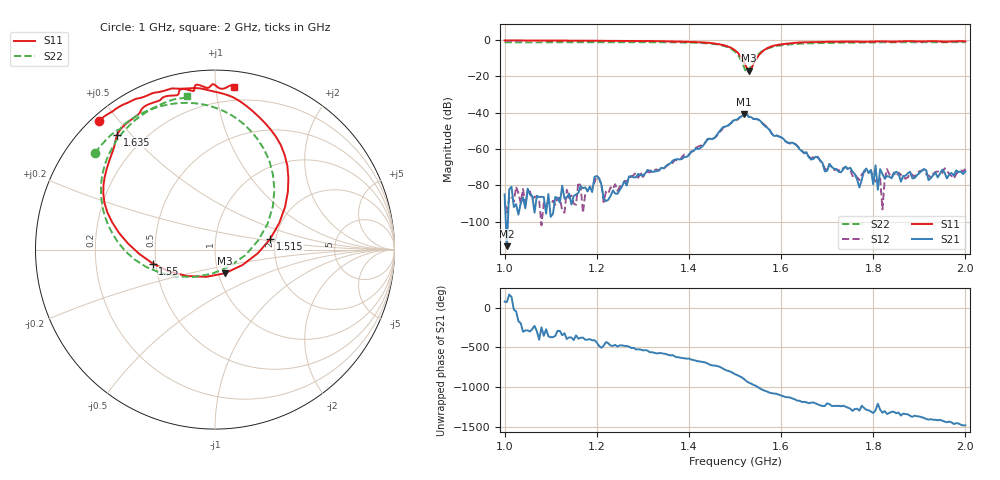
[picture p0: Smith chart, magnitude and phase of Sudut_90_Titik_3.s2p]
# Hz S RI R 50
! CMT, C1220, 16058040, 17.2.0/1
! Date: 14/08/2018 12:37:43
! Data: Format (Calibration Info)
! Freq  S11: Re/Im (F2)  S21: Re/Im (F2)  S12: Re/Im (F2)  S22: Re/Im (F2)
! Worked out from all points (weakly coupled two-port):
!   201 points, 1 GHz to 2 GHz, reference 50 ohm
!   highest |S21| = -40.77 dB at 1.52 GHz (marker M1); lowest = -113.6 dB at 1.005 GHz (marker M2)
!   lowest |S11| = -16.9 dB at 1.53 GHz (marker M3), VSWR 1.33, Z = 53.9 - j14.5 ohm
!   |S11| at or under -10 dB: 1.515 GHz to 1.547 GHz (32.67 MHz wide, 2.13 % of centre)
!   |S22| runs from -18.1 to -1.2 dB; largest |S21 - S12| = 0.00038
!   S11 on the Smith chart (normalised r, x): 1 GHz: 0.02, +0.44; 1.515 GHz: 1.87, +0.24; 1.55 GHz: 0.48, -0.09; 1.635 GHz: 0.10, +0.46; 2 GHz: 0.10, +1.12
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1e9  -0.6468 0.7145  1.15e-05 5.44e-05  1.99e-05 -2.95e-05  -0.6703 0.5379
1.005e9  -0.6396 0.7199  6.6e-07 1.99e-06  -5.98e-06 1.62e-05  -0.6673 0.5415
1.17e9  -0.4751 0.8236  8e-05 -2.19e-05  4.93e-06 -1.66e-05  -0.5592 0.6558
1.335e9  -0.2129 0.8966  -0.000214 0.000136  -0.000202 0.000161  -0.3754 0.7738
1.45e9  0.1867 0.791  0.00183 -0.000208  0.00185 -0.000329  0.0182 0.7844
1.5e9  0.4062 0.323  -0.00301 -0.00551  -0.00285 -0.00516  0.3312 0.3334
1.515e9  0.3073 0.0588  -0.00752 -0.00276  -0.0075 -0.00296  0.2406 0.0511
1.52e9  0.238 -0.021  -0.00915 5.65e-05  -0.00926 -9.47e-05  0.17 -0.0303
1.53e9  0.056 -0.1318  -0.00546 0.00527  -0.00551 0.00528  -0.0176 -0.135
1.55e9  -0.3468 -0.0775  0.00129 0.00634  0.00103 0.00636  -0.3824 -0.0972
1.635e9  -0.5443 0.6408  -2.35e-05 -0.0012  2.13e-05 -0.00123  -0.611 0.4809
1.67e9  -0.4355 0.7469  -0.000216 -0.00048  -0.000242 -0.000541  -0.5653 0.5807
1.695e9  -0.4046 0.7869  -0.000222 -8.99e-05  -0.000274 -9.29e-05  -0.5329 0.6291
1.75e9  -0.2885 0.8487  -0.000296 6.37e-05  -0.000255 8.68e-05  -0.4604 0.7078
1.77e9  -0.2349 0.8583  -6.92e-05 5.17e-05  -0.000138 1.01e-05  -0.4362 0.728
1.785e9  -0.2054 0.8634  -0.000257 0.000131  -0.000225 0.000103  -0.417 0.7421
1.8e9  -0.1997 0.883  -3.97e-05 9.72e-05  -0.000126 0.000103  -0.3986 0.7553
1.805e9  -0.1962 0.8892  -0.000296 0.000189  -0.000106 6.91e-05  -0.3926 0.7596
1.81e9  -0.1896 0.8934  -4.83e-05 -5.72e-05  -0.000117 4.27e-05  -0.3868 0.7636
1.815e9  -0.1799 0.895  -0.000253 0.000115  -4.21e-05 0.000149  -0.3808 0.7672
1.835e9  -0.128 0.8843  -6.81e-05 0.000156  -0.000121 0.000157  -0.3573 0.7813
2e9  0.104 0.9067  0.000175 -0.000163  0.000172 -0.000221  -0.1579 0.854
